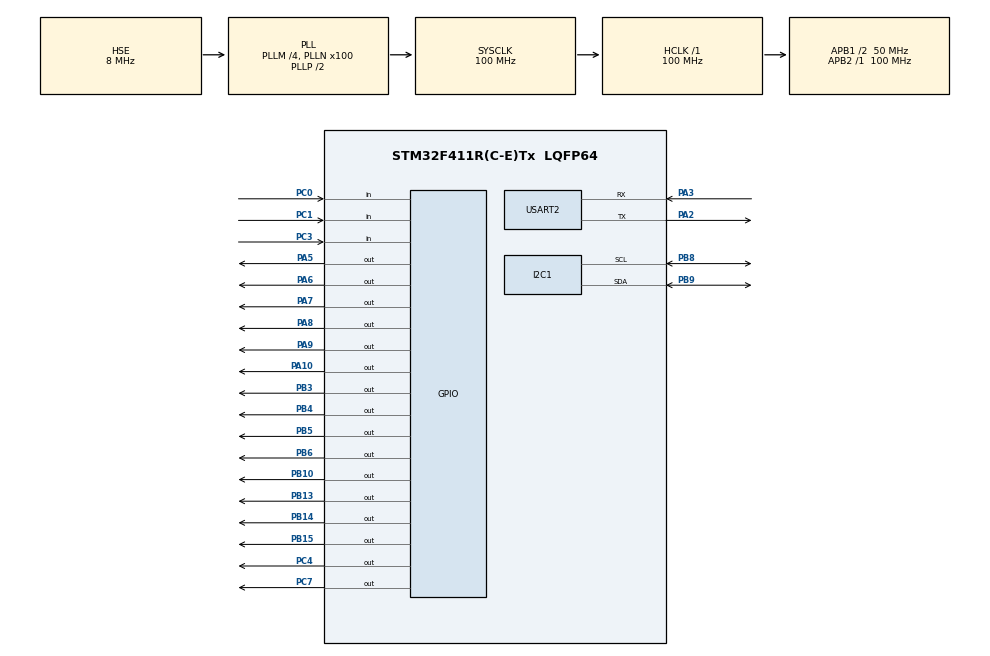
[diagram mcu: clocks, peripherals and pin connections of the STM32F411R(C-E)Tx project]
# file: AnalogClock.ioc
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Mcu.Family=STM32F4
Mcu.Name=STM32F411R(C-E)Tx
Mcu.Package=LQFP64
NVIC.PriorityGroup=NVIC_PRIORITYGROUP_4
NVIC.TIM2_IRQn=true\:0\:0\:false\:false\:true\:true\:true\:true
NVIC.TIM3_IRQn=true\:0\:0\:false\:false\:true\:true\:true\:true
NVIC.TIM4_IRQn=true\:0\:0\:false\:false\:true\:true\:true\:true
PA10.Signal=GPIO_Output
PA13.Mode=Serial_Wire
PA13.Signal=SYS_JTMS-SWDIO
PA14.Mode=Serial_Wire
PA14.Signal=SYS_JTCK-SWCLK
PA2.Mode=Asynchronous
PA2.Signal=USART2_TX
PA3.Mode=Asynchronous
PA3.Signal=USART2_RX
PA5.Signal=GPIO_Output
PA6.Signal=GPIO_Output
PA7.Signal=GPIO_Output
PA8.Signal=GPIO_Output
PA9.Signal=GPIO_Output
PB10.Signal=GPIO_Output
PB13.Signal=GPIO_Output
PB14.Signal=GPIO_Output
PB15.Signal=GPIO_Output
PB3.Signal=GPIO_Output
PB4.Signal=GPIO_Output
PB5.Signal=GPIO_Output
PB6.Signal=GPIO_Output
PB8.Mode=I2C
PB8.Signal=I2C1_SCL
PB9.Mode=I2C
PB9.Signal=I2C1_SDA
PC0.Signal=GPIO_Input
PC1.Signal=GPIO_Input
PC3.Signal=GPIO_Input
PC4.Signal=GPIO_Output
PC7.Signal=GPIO_Output
PH0\ -\ OSC_IN.Mode=HSE-External-Oscillator
PH0\ -\ OSC_IN.Signal=RCC_OSC_IN
PH1\ -\ OSC_OUT.Mode=HSE-External-Oscillator
PH1\ -\ OSC_OUT.Signal=RCC_OSC_OUT
ProjectManager.HeapSize=0x200
ProjectManager.StackSize=0x400
ProjectManager.TargetToolchain=STM32CubeIDE
RCC.48MHZClocksFreq_Value=50000000
RCC.AHBFreq_Value=100000000
RCC.APB1CLKDivider=RCC_HCLK_DIV2
RCC.APB1Freq_Value=50000000
RCC.APB1TimFreq_Value=100000000
RCC.APB2Freq_Value=100000000
RCC.APB2TimFreq_Value=100000000
RCC.CortexFreq_Value=100000000
RCC.HCLKFreq_Value=100000000
RCC.HSE_VALUE=8000000
RCC.HSI_VALUE=16000000
RCC.LSE_VALUE=32768
RCC.PLLM=4
RCC.PLLN=100
RCC.PLLSourceVirtual=RCC_PLLSOURCE_HSE
RCC.SYSCLKFreq_VALUE=100000000
RCC.SYSCLKSource=RCC_SYSCLKSOURCE_PLLCLK
RCC.VCOOutputFreq_Value=200000000
TIM2.Period=100000-1
TIM2.Prescaler=1000-1
TIM3.Period=1000-1
TIM3.Prescaler=100-1
TIM4.Period=1000-1
TIM4.Prescaler=1000-1
USART2.VirtualMode=VM_ASYNC
VP_TIM2_VS_ClockSourceINT.Mode=Internal
VP_TIM3_VS_ClockSourceINT.Mode=Internal
VP_TIM4_VS_ClockSourceINT.Mode=Internal
board=custom

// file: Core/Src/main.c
/* USER CODE BEGIN Header */
/**
 ******************************************************************************
 * @file           : main.c
 * @brief          : Main program body
 ******************************************************************************
 * @attention
 *
 * Copyright (c) 2026 STMicroelectronics.
 * All rights reserved.
 *
 * This software is licensed under terms that can be found in the LICENSE file
 * in the root directory of this software component.
 * If no LICENSE file comes with this software, it is provided AS-IS.
 *
 ******************************************************************************
 */
/* USER CODE END Header */
#include "main.h"

/* USER CODE BEGIN Includes */
#include "driver/stepMotor/stepMotor.h"
#include "driver/button/button.h"
/* USER CODE END Includes */

I2C_HandleTypeDef hi2c1;

TIM_HandleTypeDef htim2;
TIM_HandleTypeDef htim3;
TIM_HandleTypeDef htim4;

UART_HandleTypeDef huart2;

void SystemClock_Config(void);
static void MX_GPIO_Init(void);
static void MX_TIM3_Init(void);
static void MX_TIM2_Init(void);
static void MX_TIM4_Init(void);
static void MX_I2C1_Init(void);
static void MX_USART2_UART_Init(void);

/* USER CODE BEGIN 0 */
stepMotor_pin_t stepMotorPinSec = {
		.port = {GPIOA,GPIOA,GPIOA,GPIOB},
		.pin  = {GPIO_PIN_0,GPIO_PIN_1,GPIO_PIN_4,GPIO_PIN_0},
};

stepMotor_t motor_sec = {
		.pin = &stepMotorPinSec,
		.stepCounter = 0
};

volatile uint8_t isrFlag = 0;

void ClockNeedle_setFlag(void)
{
	isrFlag = 1;
}

void ClockNeedle_clearFlag(void)
{
	isrFlag = 0;
}

void ClockNeedle_ISR1(void)
{
	ClockNeedle_setFlag();
}

void ClockNeedle_task(void)
{
	if (isrFlag == 0){
		return;
	}
	ClockNeedle_clearFlag();
	StepMotor_stepPhase(&motor_sec, STEP_MOTOR_DIR_CW);
}

void HAL_TIM_PeriodElapsedCallback(TIM_HandleTypeDef *htim)
{
	if (htim->Instance == TIM9)
	{
		ClockNeedle_ISR1();
	}
}

/* USER CODE END 0 */

int main(void)
{

  /* MCU Configuration--------------------------------------------------------*/

  /* Reset of all peripherals, Initializes the Flash interface and the Systick. */
  HAL_Init();

  /* Configure the system clock */
  SystemClock_Config();

  /* Initialize all configured peripherals */
  MX_GPIO_Init();
  MX_TIM3_Init();
  MX_TIM2_Init();
  MX_TIM4_Init();
  MX_I2C1_Init();
  MX_USART2_UART_Init();
  /* USER CODE BEGIN 2 */
	button_t btn_up;
	button_t btn_down;

	button_init(&btn_up,GPIOC,GPIO_PIN_1);
	button_init(&btn_down,GPIOC,GPIO_PIN_3);

	HAL_TIM_Base_Start_IT(&htim4);

  /* USER CODE END 2 */

  /* Infinite loop */
  /* USER CODE BEGIN WHILE */
	while (1)
	{
		ClockNeedle_task();
		if(button_getState(&btn_up) == ACT_RELEASE) {
			__HAL_TIM_SET_AUTORELOAD(&htim4, 1000 - 1);
		} else if(button_getState(&btn_down) == ACT_RELEASE) {
			__HAL_TIM_SET_AUTORELOAD(&htim4, 5000 - 1);
		}

	}

			//		for(int i = 0; i<4096; i++){
				//			StepMotor_stepPhase(&motor_sec,STEP_MOTOR_DIR_CW);
				//			HAL_Delay(2);
				//		HAL_GPIO_WritePin(GPIOA, GPIO_PIN_0, GPIO_PIN_SET);
				//		HAL_GPIO_WritePin(GPIOA, GPIO_PIN_1, GPIO_PIN_RESET);
				//		HAL_GPIO_WritePin(GPIOA, GPIO_PIN_4, GPIO_PIN_RESET);
				//		HAL_GPIO_WritePin(GPIOB, GPIO_PIN_0, GPIO_PIN_RESET);
				//		StepMotor_writePattern(&motor_sec, step_table[0]);
			//		HAL_Delay(1);

			//		HAL_GPIO_WritePin(GPIOA, GPIO_PIN_0, GPIO_PIN_SET);
			//		HAL_GPIO_WritePin(GPIOA, GPIO_PIN_1, GPIO_PIN_SET);
			//		HAL_GPIO_WritePin(GPIOA, GPIO_PIN_4, GPIO_PIN_RESET);
			//		HAL_GPIO_WritePin(GPIOB, GPIO_PIN_0, GPIO_PIN_RESET);
			//		StepMotor_writePattern(&motor_sec, step_table[1]);
			//		HAL_Delay(1);

			//		HAL_GPIO_WritePin(GPIOA, GPIO_PIN_0, GPIO_PIN_RESET);
			//		HAL_GPIO_WritePin(GPIOA, GPIO_PIN_1, GPIO_PIN_SET);
			//		HAL_GPIO_WritePin(GPIOA, GPIO_PIN_4, GPIO_PIN_RESET);
			//		HAL_GPIO_WritePin(GPIOB, GPIO_PIN_0, GPIO_PIN_RESET);
			//		StepMotor_writePattern(&motor_sec, step_table[2]);
			//		HAL_Delay(1);

			//		HAL_GPIO_WritePin(GPIOA, GPIO_PIN_0, GPIO_PIN_RESET);
			//		HAL_GPIO_WritePin(GPIOA, GPIO_PIN_1, GPIO_PIN_SET);
			//		HAL_GPIO_WritePin(GPIOA, GPIO_PIN_4, GPIO_PIN_SET);
			//		HAL_GPIO_WritePin(GPIOB, GPIO_PIN_0, GPIO_PIN_RESET);
			//		StepMotor_writePattern(&motor_sec, step_table[3]);
			//		HAL_Delay(1);

			//		HAL_GPIO_WritePin(GPIOA, GPIO_PIN_0, GPIO_PIN_RESET);
			//		HAL_GPIO_WritePin(GPIOA, GPIO_PIN_1, GPIO_PIN_RESET);
			//		HAL_GPIO_WritePin(GPIOA, GPIO_PIN_4, GPIO_PIN_SET);
			//		HAL_GPIO_WritePin(GPIOB, GPIO_PIN_0, GPIO_PIN_RESET);
			//		StepMotor_writePattern(&motor_sec, step_table[4]);
			//		HAL_Delay(1);

			//		HAL_GPIO_WritePin(GPIOA, GPIO_PIN_0, GPIO_PIN_RESET);
			//		HAL_GPIO_WritePin(GPIOA, GPIO_PIN_1, GPIO_PIN_RESET);
			//		HAL_GPIO_WritePin(GPIOA, GPIO_PIN_4, GPIO_PIN_SET);
			//		HAL_GPIO_WritePin(GPIOB, GPIO_PIN_0, GPIO_PIN_SET);
			//		StepMotor_writePattern(&motor_sec, step_table[5]);
			//		HAL_Delay(1);

			//		HAL_GPIO_WritePin(GPIOA, GPIO_PIN_0, GPIO_PIN_RESET);
			//		HAL_GPIO_WritePin(GPIOA, GPIO_PIN_1, GPIO_PIN_RESET);
			//		HAL_GPIO_WritePin(GPIOA, GPIO_PIN_4, GPIO_PIN_RESET);
			//		HAL_GPIO_WritePin(GPIOB, GPIO_PIN_0, GPIO_PIN_SET);
			//		StepMotor_writePattern(&motor_sec, step_table[6]);
			//		HAL_Delay(1);

			//		HAL_GPIO_WritePin(GPIOA, GPIO_PIN_0, GPIO_PIN_SET);
			//		HAL_GPIO_WritePin(GPIOA, GPIO_PIN_1, GPIO_PIN_RESET);
			//		HAL_GPIO_WritePin(GPIOA, GPIO_PIN_4, GPIO_PIN_RESET);
			//		HAL_GPIO_WritePin(GPIOB, GPIO_PIN_0, GPIO_PIN_SET);
			//		StepMotor_writePattern(&motor_sec, step_table[7]);
			//		HAL_Delay(1);
			//}
			//		StepMotor_release(&motor_sec);
			//		HAL_Delay(1000);
    /* USER CODE END WHILE */

}

void SystemClock_Config(void)
{
  RCC_OscInitTypeDef RCC_OscInitStruct = {0};
  RCC_ClkInitTypeDef RCC_ClkInitStruct = {0};

  /** Configure the main internal regulator output voltage
  */
  __HAL_RCC_PWR_CLK_ENABLE();
  __HAL_PWR_VOLTAGESCALING_CONFIG(PWR_REGULATOR_VOLTAGE_SCALE1);

  /** Initializes the RCC Oscillators according to the specified parameters
  * in the RCC_OscInitTypeDef structure.
  */
  RCC_OscInitStruct.OscillatorType = RCC_OSCILLATORTYPE_HSE;
  RCC_OscInitStruct.HSEState = RCC_HSE_ON;
  RCC_OscInitStruct.PLL.PLLState = RCC_PLL_ON;
  RCC_OscInitStruct.PLL.PLLSource = RCC_PLLSOURCE_HSE;
  RCC_OscInitStruct.PLL.PLLM = 4;
  RCC_OscInitStruct.PLL.PLLN = 100;
  RCC_OscInitStruct.PLL.PLLP = RCC_PLLP_DIV2;
  RCC_OscInitStruct.PLL.PLLQ = 4;
  if (HAL_RCC_OscConfig(&RCC_OscInitStruct) != HAL_OK)
  {
    Error_Handler();
  }

  /** Initializes the CPU, AHB and APB buses clocks
  */
  RCC_ClkInitStruct.ClockType = RCC_CLOCKTYPE_HCLK|RCC_CLOCKTYPE_SYSCLK
                              |RCC_CLOCKTYPE_PCLK1|RCC_CLOCKTYPE_PCLK2;
  RCC_ClkInitStruct.SYSCLKSource = RCC_SYSCLKSOURCE_PLLCLK;
  RCC_ClkInitStruct.AHBCLKDivider = RCC_SYSCLK_DIV1;
  RCC_ClkInitStruct.APB1CLKDivider = RCC_HCLK_DIV2;
  RCC_ClkInitStruct.APB2CLKDivider = RCC_HCLK_DIV1;

  if (HAL_RCC_ClockConfig(&RCC_ClkInitStruct, FLASH_LATENCY_3) != HAL_OK)
  {
    Error_Handler();
  }
}

static void MX_I2C1_Init(void)
{

  hi2c1.Instance = I2C1;
  hi2c1.Init.ClockSpeed = 100000;
  hi2c1.Init.DutyCycle = I2C_DUTYCYCLE_2;
  hi2c1.Init.OwnAddress1 = 0;
  hi2c1.Init.AddressingMode = I2C_ADDRESSINGMODE_7BIT;
  hi2c1.Init.DualAddressMode = I2C_DUALADDRESS_DISABLE;
  hi2c1.Init.OwnAddress2 = 0;
  hi2c1.Init.GeneralCallMode = I2C_GENERALCALL_DISABLE;
  hi2c1.Init.NoStretchMode = I2C_NOSTRETCH_DISABLE;
  if (HAL_I2C_Init(&hi2c1) != HAL_OK)
  {
    Error_Handler();
  }

}

static void MX_TIM2_Init(void)
{

  TIM_ClockConfigTypeDef sClockSourceConfig = {0};
  TIM_MasterConfigTypeDef sMasterConfig = {0};

  htim2.Instance = TIM2;
  htim2.Init.Prescaler = 1000-1;
  htim2.Init.CounterMode = TIM_COUNTERMODE_UP;
  htim2.Init.Period = 100000-1;
  htim2.Init.ClockDivision = TIM_CLOCKDIVISION_DIV1;
  htim2.Init.AutoReloadPreload = TIM_AUTORELOAD_PRELOAD_DISABLE;
  if (HAL_TIM_Base_Init(&htim2) != HAL_OK)
  {
    Error_Handler();
  }
  sClockSourceConfig.ClockSource = TIM_CLOCKSOURCE_INTERNAL;
  if (HAL_TIM_ConfigClockSource(&htim2, &sClockSourceConfig) != HAL_OK)
  {
    Error_Handler();
  }
  sMasterConfig.MasterOutputTrigger = TIM_TRGO_RESET;
  sMasterConfig.MasterSlaveMode = TIM_MASTERSLAVEMODE_DISABLE;
  if (HAL_TIMEx_MasterConfigSynchronization(&htim2, &sMasterConfig) != HAL_OK)
  {
    Error_Handler();
  }

}

static void MX_TIM3_Init(void)
{

  TIM_ClockConfigTypeDef sClockSourceConfig = {0};
  TIM_MasterConfigTypeDef sMasterConfig = {0};

  htim3.Instance = TIM3;
  htim3.Init.Prescaler = 100-1;
  htim3.Init.CounterMode = TIM_COUNTERMODE_UP;
  htim3.Init.Period = 1000-1;
  htim3.Init.ClockDivision = TIM_CLOCKDIVISION_DIV1;
  htim3.Init.AutoReloadPreload = TIM_AUTORELOAD_PRELOAD_DISABLE;
  if (HAL_TIM_Base_Init(&htim3) != HAL_OK)
  {
    Error_Handler();
  }
  sClockSourceConfig.ClockSource = TIM_CLOCKSOURCE_INTERNAL;
  if (HAL_TIM_ConfigClockSource(&htim3, &sClockSourceConfig) != HAL_OK)
  {
    Error_Handler();
  }
  sMasterConfig.MasterOutputTrigger = TIM_TRGO_RESET;
  sMasterConfig.MasterSlaveMode = TIM_MASTERSLAVEMODE_DISABLE;
  if (HAL_TIMEx_MasterConfigSynchronization(&htim3, &sMasterConfig) != HAL_OK)
  {
    Error_Handler();
  }

}

static void MX_TIM4_Init(void)
{

  TIM_ClockConfigTypeDef sClockSourceConfig = {0};
  TIM_MasterConfigTypeDef sMasterConfig = {0};

  htim4.Instance = TIM4;
  htim4.Init.Prescaler = 1000-1;
  htim4.Init.CounterMode = TIM_COUNTERMODE_UP;
  htim4.Init.Period = 1000-1;
  htim4.Init.ClockDivision = TIM_CLOCKDIVISION_DIV1;
  htim4.Init.AutoReloadPreload = TIM_AUTORELOAD_PRELOAD_DISABLE;
  if (HAL_TIM_Base_Init(&htim4) != HAL_OK)
  {
    Error_Handler();
  }
  sClockSourceConfig.ClockSource = TIM_CLOCKSOURCE_INTERNAL;
  if (HAL_TIM_ConfigClockSource(&htim4, &sClockSourceConfig) != HAL_OK)
  {
    Error_Handler();
  }
  sMasterConfig.MasterOutputTrigger = TIM_TRGO_RESET;
  sMasterConfig.MasterSlaveMode = TIM_MASTERSLAVEMODE_DISABLE;
  if (HAL_TIMEx_MasterConfigSynchronization(&htim4, &sMasterConfig) != HAL_OK)
  {
    Error_Handler();
  }

}

static void MX_USART2_UART_Init(void)
{

  huart2.Instance = USART2;
  huart2.Init.BaudRate = 115200;
  huart2.Init.WordLength = UART_WORDLENGTH_8B;
  huart2.Init.StopBits = UART_STOPBITS_1;
  huart2.Init.Parity = UART_PARITY_NONE;
  huart2.Init.Mode = UART_MODE_TX_RX;
  huart2.Init.HwFlowCtl = UART_HWCONTROL_NONE;
  huart2.Init.OverSampling = UART_OVERSAMPLING_16;
  if (HAL_UART_Init(&huart2) != HAL_OK)
  {
    Error_Handler();
  }

}

static void MX_GPIO_Init(void)
{
  GPIO_InitTypeDef GPIO_InitStruct = {0};

  /* GPIO Ports Clock Enable */
  __HAL_RCC_GPIOH_CLK_ENABLE();
  __HAL_RCC_GPIOC_CLK_ENABLE();
  __HAL_RCC_GPIOA_CLK_ENABLE();
  __HAL_RCC_GPIOB_CLK_ENABLE();

  /*Configure GPIO pin Output Level */
  HAL_GPIO_WritePin(GPIOA, GPIO_PIN_5|GPIO_PIN_6|GPIO_PIN_7|GPIO_PIN_8
                          |GPIO_PIN_9|GPIO_PIN_10, GPIO_PIN_RESET);

  /*Configure GPIO pin Output Level */
  HAL_GPIO_WritePin(GPIOC, GPIO_PIN_4|GPIO_PIN_7, GPIO_PIN_RESET);

  /*Configure GPIO pin Output Level */
  HAL_GPIO_WritePin(GPIOB, GPIO_PIN_10|GPIO_PIN_13|GPIO_PIN_14|GPIO_PIN_15
                          |GPIO_PIN_3|GPIO_PIN_4|GPIO_PIN_5|GPIO_PIN_6, GPIO_PIN_RESET);

  /*Configure GPIO pins : PC0 PC1 PC3 */
  GPIO_InitStruct.Pin = GPIO_PIN_0|GPIO_PIN_1|GPIO_PIN_3;
  GPIO_InitStruct.Mode = GPIO_MODE_INPUT;
  GPIO_InitStruct.Pull = GPIO_NOPULL;
  HAL_GPIO_Init(GPIOC, &GPIO_InitStruct);

  /*Configure GPIO pins : PA5 PA6 PA7 PA8
                           PA9 PA10 */
  GPIO_InitStruct.Pin = GPIO_PIN_5|GPIO_PIN_6|GPIO_PIN_7|GPIO_PIN_8
                          |GPIO_PIN_9|GPIO_PIN_10;
  GPIO_InitStruct.Mode = GPIO_MODE_OUTPUT_PP;
  GPIO_InitStruct.Pull = GPIO_NOPULL;
  GPIO_InitStruct.Speed = GPIO_SPEED_FREQ_LOW;
  HAL_GPIO_Init(GPIOA, &GPIO_InitStruct);

  /*Configure GPIO pins : PC4 PC7 */
  GPIO_InitStruct.Pin = GPIO_PIN_4|GPIO_PIN_7;
  GPIO_InitStruct.Mode = GPIO_MODE_OUTPUT_PP;
  GPIO_InitStruct.Pull = GPIO_NOPULL;
  GPIO_InitStruct.Speed = GPIO_SPEED_FREQ_LOW;
  HAL_GPIO_Init(GPIOC, &GPIO_InitStruct);

  /*Configure GPIO pins : PB10 PB13 PB14 PB15
                           PB3 PB4 PB5 PB6 */
  GPIO_InitStruct.Pin = GPIO_PIN_10|GPIO_PIN_13|GPIO_PIN_14|GPIO_PIN_15
                          |GPIO_PIN_3|GPIO_PIN_4|GPIO_PIN_5|GPIO_PIN_6;
  GPIO_InitStruct.Mode = GPIO_MODE_OUTPUT_PP;
  GPIO_InitStruct.Pull = GPIO_NOPULL;
  GPIO_InitStruct.Speed = GPIO_SPEED_FREQ_LOW;
  HAL_GPIO_Init(GPIOB, &GPIO_InitStruct);

}

void Error_Handler(void)
{
		__disable_irq();
		while (1)
		{
		}
}
